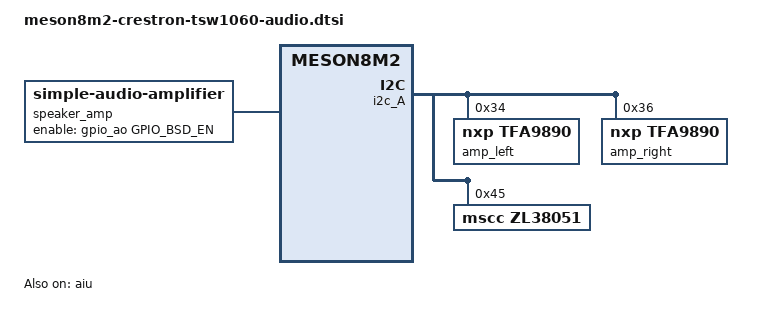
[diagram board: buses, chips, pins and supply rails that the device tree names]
// SPDX-License-Identifier: GPL-2.0
/*
 * Crestron TSW-1060 audio, included at the end of meson8m2-crestron-tsw1060.dts.
 *
 * Signal path (vendor evidence: yushan_one_10inch.dtd l.1407-1490, 2249-2253;
 * device_amlogic_common/audio/zl38051/10inch/ZLS38051_*_with_ver_info.cr2;
 * audio/tfa9890/settings_yushan_3rd/stereo.ini):
 *
 *   AIU I2S out (GPIOAO_8 MCLK, AO_9 BCLK, AO_10 LRCLK, AO_11 DOUT; SoC = clock
 *   master, 64 BCLK per frame)
 *     -> ZLS38051 TDMA (I2S-1, clock slave: TdmaClkCfg 0x03F6 = 64 bit, 48 kHz)
 *        crosspoint in its flash config: TDMB-1/2 <= I2S-1 L/R (0x021C/0x021E)
 *     -> ZLS38051 TDMB (I2S-2, clock master: TdmbClkCfg 0x83F6)
 *     -> TFA9890 left (i2c-1 0x34) + TFA9890 right (0x36) -> speakers
 *   2 digital mics (DigMicCfg 0x0006 = MIC2 + MIC3) -> ZL AEC (Sin MIC3,
 *   Sin2 MIC2, Rin = TDMB-2 input)
 *     -> AEC Sout on TDMA-1 and TDMA-2 (0x0214/0x0216 = 0x0E) -> GPIOY_5
 *        (I2S_IN ch01) -> AUDIN (capture, not in this file yet)
 *
 * Speaker enable: the vendor "mute_gpio" GPIO_BSD_EN, driven high by the
 * DAPM speaker widget after power-up and low before power-down (aml_m8.c
 * speaker_events). Here the same is done by a simple-audio-amplifier aux
 * device on the DAPM path behind both TFA9890s, so SPK_EN is only high
 * while a playback stream runs (plus the 5 s pmdown time).
 *
 * The TFA9890s run with their CoolFlux DSP bypassed (mainline tfa989x): no
 * speaker protection and no volume control. Keep the software volume low
 * (userland caps "Master" at -6 dB).
 */

/ {
	/* GPIO_BSD_EN = vendor "mute_spk" (gpio 134): high = speakers on */
	speaker_amp: audio-amplifier {
		compatible = "simple-audio-amplifier";
		enable-gpios = <&gpio_ao GPIO_BSD_EN GPIO_ACTIVE_HIGH>;
		sound-name-prefix = "Speaker Amp";
	};

	sound {
		compatible = "amlogic,gx-sound-card";
		model = "TSW-1060";

		audio-aux-devs = <&speaker_amp>;
		audio-widgets = "Speaker", "Speakers";
		audio-routing = "Speaker Amp INL", "Left OUT",
				"Speaker Amp INR", "Right OUT",
				"Speakers", "Speaker Amp OUTL",
				"Speakers", "Speaker Amp OUTR";

		/*
		 * The whole card runs at 48 kHz (MCLK 256 fs = 12.288 MHz from
		 * MPLL0, as the vendor kernel: CTS_AMCLK measured 12 MHz). MPLL2
		 * is left alone: it is an Ethernet clock input on Meson8m2.
		 */
		assigned-clocks = <&clkc CLKID_MPLL0>,
				  <&clkc CLKID_MPLL1>;
		assigned-clock-rates = <294912000>,
				       <270950400>;

		dai-link-0 {
			sound-dai = <&aiu AIU_CPU CPU_I2S_FIFO>;
		};

		dai-link-1 {
			sound-dai = <&aiu AIU_CPU CPU_I2S_ENCODER>;
			dai-format = "i2s";
			mclk-fs = <256>;

			/* the ZL on TDMA ... */
			codec-0 {
				sound-dai = <&zl38051>;
			};
			/*
			 * ... and the amplifiers behind it on TDMB. They are not
			 * on this wire, but listing them here makes ASoC power
			 * them with the stream and give them the stream rate
			 * (the ZL TDMB runs at the TDMA rate; vendor I2SSR = 48 kHz
			 * in stereo.ini).
			 */
			codec-1 {
				sound-dai = <&amp_left>;
			};
			codec-2 {
				sound-dai = <&amp_right>;
			};
		};
	};
};

&aiu {
	status = "okay";
	pinctrl-0 = <&i2s_am_clk_pins>, <&i2s_out_ao_clk_pins>,
		    <&i2s_out_lr_clk_pins>, <&i2s_out_ch01_ao_pins>;
	pinctrl-names = "default";
};

&i2c_A {
	/*
	 * NXP TFA9890, mainline tfa989x in DSP-bypass mode. Both take the left
	 * I2S slot after probe: set "Right Amp Input" to "Right" (tsx-audio).
	 * VDDD is not software controlled (no vddd-supply: dummy regulator).
	 */
	amp_left: audio-codec@34 {
		compatible = "nxp,tfa9890";
		reg = <0x34>;
		#sound-dai-cells = <0>;
		sound-name-prefix = "Left";
	};

	amp_right: audio-codec@36 {
		compatible = "nxp,tfa9890";
		reg = <0x36>;
		#sound-dai-cells = <0>;
		sound-name-prefix = "Right";
	};

	/*
	 * ZLS38051 (vendor zls38051.h: HBI over I2C at 0x45, firmware and
	 * configuration record from its own flash, ZL380XX_TW_UPDATE_FIRMWARE
	 * undefined). I2S slave on TDMA (to the SoC), master on TDMB (to the
	 * amplifiers). No reset GPIO in the vendor DTS.
	 */
	zl38051: audio-codec@45 {
		compatible = "mscc,zl38051";
		reg = <0x45>;
		mscc,flash-boot;
		gpio-controller;
		#gpio-cells = <2>;
		#sound-dai-cells = <0>;
		sound-name-prefix = "ZL";
	};
};
